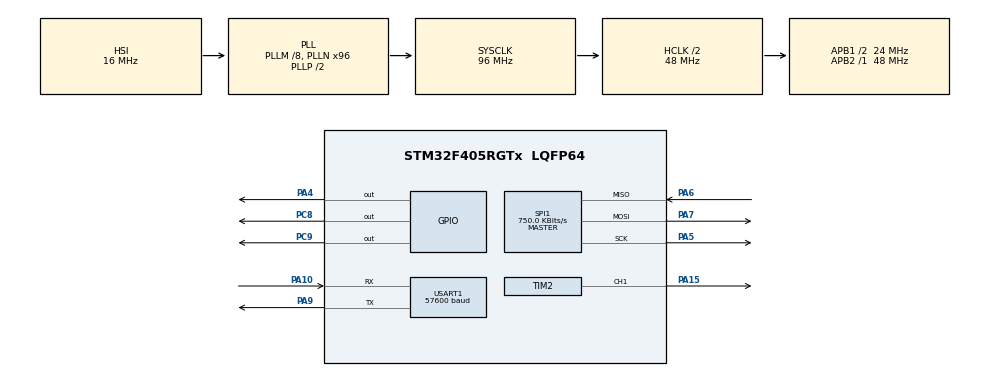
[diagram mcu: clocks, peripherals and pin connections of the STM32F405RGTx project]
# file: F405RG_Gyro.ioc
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Mcu.Family=STM32F4
Mcu.Name=STM32F405RGTx
Mcu.Package=LQFP64
NVIC.PriorityGroup=NVIC_PRIORITYGROUP_4
NVIC.TIM1_BRK_TIM9_IRQn=true\:0\:0\:false\:false\:true\:true\:true
NVIC.TIM1_CC_IRQn=true\:0\:0\:false\:false\:true\:true\:true
NVIC.TIM1_TRG_COM_TIM11_IRQn=true\:0\:0\:false\:false\:true\:true\:true
NVIC.TIM1_UP_TIM10_IRQn=true\:0\:0\:false\:false\:true\:true\:true
PA10.Mode=Asynchronous
PA10.Signal=USART1_RX
PA13.Mode=Serial_Wire
PA13.Signal=SYS_JTMS-SWDIO
PA14.Mode=Serial_Wire
PA14.Signal=SYS_JTCK-SWCLK
PA15.Signal=S_TIM2_CH1_ETR
PA4.Signal=GPIO_Output
PA5.Mode=Full_Duplex_Master
PA5.Signal=SPI1_SCK
PA6.Mode=Full_Duplex_Master
PA6.Signal=SPI1_MISO
PA7.Mode=Full_Duplex_Master
PA7.Signal=SPI1_MOSI
PA9.Mode=Asynchronous
PA9.Signal=USART1_TX
PC8.Signal=GPIO_Output
PC9.Signal=GPIO_Output
ProjectManager.HeapSize=0x200
ProjectManager.StackSize=0x400
ProjectManager.TargetToolchain=Makefile
RCC.48MHZClocksFreq_Value=48000000
RCC.AHBCLKDivider=RCC_SYSCLK_DIV2
RCC.AHBFreq_Value=48000000
RCC.APB1CLKDivider=RCC_HCLK_DIV2
RCC.APB1Freq_Value=24000000
RCC.APB1TimFreq_Value=48000000
RCC.APB2Freq_Value=48000000
RCC.APB2TimFreq_Value=48000000
RCC.CortexFreq_Value=48000000
RCC.HCLKFreq_Value=48000000
RCC.HSE_VALUE=25000000
RCC.HSI_VALUE=16000000
RCC.LSE_VALUE=32768
RCC.PLLM=8
RCC.PLLN=96
RCC.SYSCLKFreq_VALUE=96000000
RCC.SYSCLKSource=RCC_SYSCLKSOURCE_PLLCLK
RCC.VCOOutputFreq_Value=192000000
SH.S_TIM2_CH1_ETR.0=TIM2_CH1,PWM Generation1 CH1
SPI1.BaudRatePrescaler=SPI_BAUDRATEPRESCALER_64
SPI1.CLKPhase=SPI_PHASE_2EDGE
SPI1.CLKPolarity=SPI_POLARITY_HIGH
SPI1.CalculateBaudRate=750.0 KBits/s
SPI1.Direction=SPI_DIRECTION_2LINES
SPI1.Mode=SPI_MODE_MASTER
SPI1.VirtualType=VM_MASTER
TIM1.Period=100-1
TIM1.Prescaler=30
TIM10.Period=1000-1
TIM10.Prescaler=48
TIM11.Period=1000-1
TIM11.Prescaler=48
TIM2.Channel-PWM\ Generation1\ CH1=TIM_CHANNEL_1
TIM2.Period=1000-1
TIM2.Prescaler=48
USART1.BaudRate=57600
USART1.VirtualMode=VM_ASYNC
VP_TIM10_VS_ClockSourceINT.Mode=Enable_Timer
VP_TIM11_VS_ClockSourceINT.Mode=Enable_Timer
VP_TIM12_VS_ClockSourceINT.Mode=Internal
VP_TIM12_VS_OPM.Mode=OPM_bit
VP_TIM1_VS_ClockSourceINT.Mode=Internal
VP_TIM2_VS_ClockSourceINT.Mode=Internal
board=custom

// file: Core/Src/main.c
/* USER CODE BEGIN Header */
/**
 ******************************************************************************
 * @file           : main.c
 * @brief          : Main program body
 ******************************************************************************
 * @attention
 *
 * <h2><center>&copy; Copyright (c) 2022 STMicroelectronics.
 * All rights reserved.</center></h2>
 *
 * This software component is licensed by ST under BSD 3-Clause license,
 * the "License"; You may not use this file except in compliance with the
 * License. You may obtain a copy of the License at:
 *                        opensource.org/licenses/BSD-3-Clause
 *
 ******************************************************************************
 */
/* USER CODE END Header */
#include "main.h"
#include "spi.h"
#include "tim.h"
#include "usart.h"
#include "gpio.h"

/* USER CODE BEGIN Includes */
#include "gyro.hpp"
/* USER CODE END Includes */

/* USER CODE BEGIN PTD */
Gyro gyro;
/* USER CODE END PTD */

void SystemClock_Config(void);

/* USER CODE BEGIN 0 */
int count = 0;
int led_count = 0;
bool init_flag = false;

extern "C" float yaw, gz;

void HAL_TIM_PeriodElapsedCallback(TIM_HandleTypeDef *htim)
{
  if (htim == &htim3)
  {
    if (init_flag)
    {
      count = (count + 1) % 160;
      if (count == 0)
      { // time interruption 100Hz
        gyro.GetGyroData();
        led_count = (led_count + 1) % 100;
        if (led_count == 0)
        {
          HAL_GPIO_WritePin(GPIOB, GPIO_PIN_3, GPIO_PIN_SET);
          printf("%f, %f \r\n", est_data[0], est_data[1]);
        }
        else
        {
          HAL_GPIO_WritePin(GPIOB, GPIO_PIN_3, GPIO_PIN_RESET);
        }
      }
    }
  }
}
/* USER CODE END 0 */

int main(void)
{

  /* MCU Configuration--------------------------------------------------------*/

  /* Reset of all peripherals, Initializes the Flash interface and the Systick. */
  HAL_Init();

  /* Configure the system clock */
  SystemClock_Config();

  /* Initialize all configured peripherals */
  MX_GPIO_Init();
  MX_SPI1_Init();
  MX_TIM2_Init();
  MX_TIM10_Init();
  MX_TIM11_Init();
  MX_TIM12_Init();
  MX_TIM1_Init();
  MX_USART1_UART_Init();
  /* USER CODE BEGIN 2 */
  HAL_TIM_Base_Start_IT(&htim1);
  HAL_TIM_PWM_Start(&htim2, TIM_CHANNEL_1);
  setbuf(stdout, NULL);
  gyro.IIRInit();
  gyro.GyroInit();
  gyro.GyroOffsetCalc();
  init_flag = true;
  /* USER CODE END 2 */

  /* Infinite loop */
  while (1)
  {

  }
}

void SystemClock_Config(void)
{
  RCC_OscInitTypeDef RCC_OscInitStruct = {0};
  RCC_ClkInitTypeDef RCC_ClkInitStruct = {0};

  /** Configure the main internal regulator output voltage
  */
  __HAL_RCC_PWR_CLK_ENABLE();
  __HAL_PWR_VOLTAGESCALING_CONFIG(PWR_REGULATOR_VOLTAGE_SCALE1);
  /** Initializes the RCC Oscillators according to the specified parameters
  * in the RCC_OscInitTypeDef structure.
  */
  RCC_OscInitStruct.OscillatorType = RCC_OSCILLATORTYPE_HSI;
  RCC_OscInitStruct.HSIState = RCC_HSI_ON;
  RCC_OscInitStruct.HSICalibrationValue = RCC_HSICALIBRATION_DEFAULT;
  RCC_OscInitStruct.PLL.PLLState = RCC_PLL_ON;
  RCC_OscInitStruct.PLL.PLLSource = RCC_PLLSOURCE_HSI;
  RCC_OscInitStruct.PLL.PLLM = 8;
  RCC_OscInitStruct.PLL.PLLN = 96;
  RCC_OscInitStruct.PLL.PLLP = RCC_PLLP_DIV2;
  RCC_OscInitStruct.PLL.PLLQ = 4;
  if (HAL_RCC_OscConfig(&RCC_OscInitStruct) != HAL_OK)
  {
    Error_Handler();
  }
  /** Initializes the CPU, AHB and APB buses clocks
  */
  RCC_ClkInitStruct.ClockType = RCC_CLOCKTYPE_HCLK|RCC_CLOCKTYPE_SYSCLK
                              |RCC_CLOCKTYPE_PCLK1|RCC_CLOCKTYPE_PCLK2;
  RCC_ClkInitStruct.SYSCLKSource = RCC_SYSCLKSOURCE_PLLCLK;
  RCC_ClkInitStruct.AHBCLKDivider = RCC_SYSCLK_DIV2;
  RCC_ClkInitStruct.APB1CLKDivider = RCC_HCLK_DIV2;
  RCC_ClkInitStruct.APB2CLKDivider = RCC_HCLK_DIV1;

  if (HAL_RCC_ClockConfig(&RCC_ClkInitStruct, FLASH_LATENCY_1) != HAL_OK)
  {
    Error_Handler();
  }
}

void Error_Handler(void)
{
  __disable_irq();
  while (1)
  {
  }
}

/************************ (C) COPYRIGHT STMicroelectronics *****END OF FILE****/
